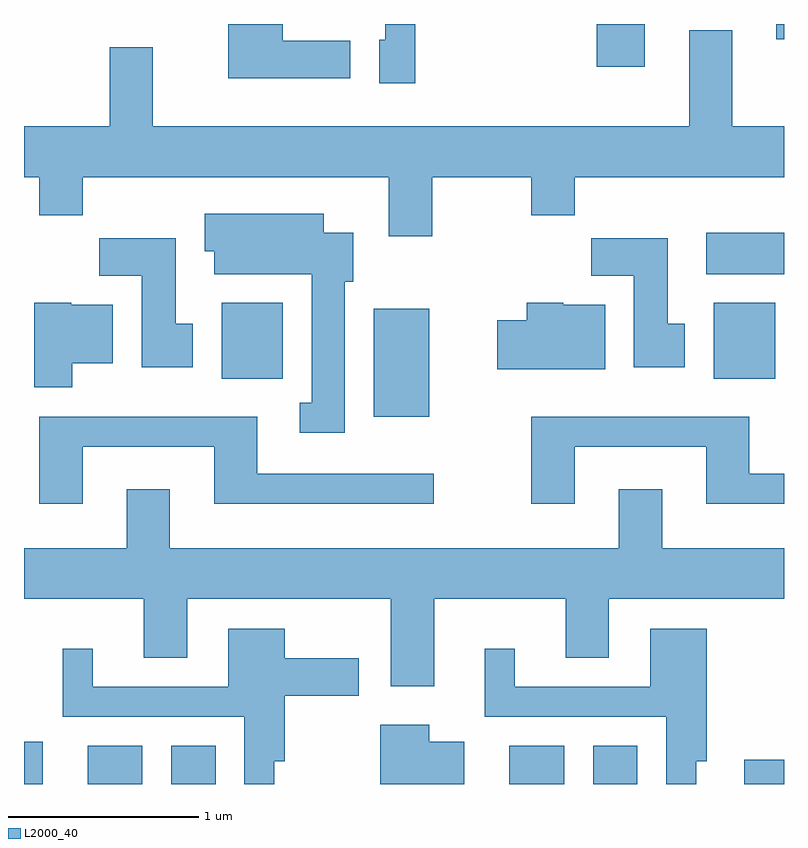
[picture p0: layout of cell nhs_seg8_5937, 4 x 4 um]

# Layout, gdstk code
import gdstk
lib = gdstk.Library(unit=1e-6, precision=1e-09)
def R(c, l, rs):  # rectangles x0, y0, x1, y1
    for r in rs: c.add(gdstk.rectangle(r[:2], r[2:], *l))
def P(c, l, *ps):  # polygons
    for p in ps: c.add(gdstk.Polygon(p, *l))
L2000_40 = (2000, 40)

nhs_seg8_5937 = lib.new_cell('nhs_seg8_5937')
R(nhs_seg8_5937, L2000_40, [(363.611,1824.342,363.709,1824.564), (363.946,1824.342,364.234,1824.544), (364.386,1824.342,364.619,1824.544), (366.166,1824.342,366.454,1824.544), (366.606,1824.342,366.839,1824.544), (367.401,1824.342,367.611,1824.469), (365.451,1826.276,365.744,1826.844), (364.651,1826.476,364.974,1826.874), (367.241,1826.476,367.564,1826.874), (367.201,1827.026,367.611,1827.244), (366.626,1828.116,366.879,1828.342), (367.571,1828.261,367.611,1828.342)])
P(nhs_seg8_5937, L2000_40, [(365.329,1828.254),(364.974,1828.254),(364.974,1828.342),(364.686,1828.342),(364.686,1828.056),(365.329,1828.056)],
  [(365.669,1828.342),(365.511,1828.342),(365.511,1828.259),(365.481,1828.259),(365.481,1828.031),(365.669,1828.031)],
  [(365.759,1827.536),(366.281,1827.536),(366.281,1827.336),(366.509,1827.336),(366.509,1827.536),(367.611,1827.536),(367.611,1827.804),(367.339,1827.804),(367.339,1828.309),(367.111,1828.309),(367.111,1827.804),(364.289,1827.804),(364.289,1828.219),(364.061,1828.219),(364.061,1827.804),(363.611,1827.804),(363.611,1827.536),(363.691,1827.536),(363.691,1827.336),(363.919,1827.336),(363.919,1827.536),(365.531,1827.536),(365.531,1827.226),(365.759,1827.226)],
  [(365.299,1826.986),(365.344,1826.986),(365.344,1827.244),(365.189,1827.244),(365.189,1827.344),(364.561,1827.344),(364.561,1827.146),(364.611,1827.146),(364.611,1827.026),(365.126,1827.026),(365.126,1826.349),(365.063,1826.349),(365.063,1826.191),(365.299,1826.191)],
  [(367.089,1826.764),(366.999,1826.764),(366.999,1827.214),(366.596,1827.214),(366.596,1827.016),(366.821,1827.016),(366.821,1826.536),(367.089,1826.536)],
  [(364.499,1826.764),(364.409,1826.764),(364.409,1827.214),(364.006,1827.214),(364.006,1827.016),(364.231,1827.016),(364.231,1826.536),(364.499,1826.536)],
  [(363.864,1826.556),(364.079,1826.556),(364.079,1826.864),(363.86,1826.864),(363.86,1826.874),(363.666,1826.874),(363.666,1826.431),(363.864,1826.431)],
  [(366.669,1826.864),(366.45,1826.864),(366.45,1826.874),(366.256,1826.874),(366.256,1826.784),(366.101,1826.784),(366.101,1826.526),(366.669,1826.526)],
  [(366.509,1826.116),(367.201,1826.116),(367.201,1825.816),(367.611,1825.816),(367.611,1825.974),(367.429,1825.974),(367.429,1826.274),(366.281,1826.274),(366.281,1825.816),(366.509,1825.816)],
  [(363.919,1826.116),(364.611,1826.116),(364.611,1825.816),(365.768,1825.816),(365.768,1825.974),(364.839,1825.974),(364.839,1826.274),(363.691,1826.274),(363.691,1825.816),(363.919,1825.816)],
  [(365.769,1825.316),(366.461,1825.316),(366.461,1825.006),(366.689,1825.006),(366.689,1825.316),(367.611,1825.316),(367.611,1825.584),(366.969,1825.584),(366.969,1825.894),(366.741,1825.894),(366.741,1825.584),(364.379,1825.584),(364.379,1825.894),(364.151,1825.894),(364.151,1825.584),(363.611,1825.584),(363.611,1825.316),(364.241,1825.316),(364.241,1825.006),(364.469,1825.006),(364.469,1825.316),(365.541,1825.316),(365.541,1824.856),(365.769,1824.856)],
  [(364.929,1824.461),(364.984,1824.461),(364.984,1824.806),(365.374,1824.806),(365.374,1825.004),(364.984,1825.004),(364.984,1825.159),(364.686,1825.159),(364.686,1824.854),(363.974,1824.854),(363.974,1825.053),(363.816,1825.053),(363.816,1824.696),(364.771,1824.696),(364.771,1824.342),(364.929,1824.342)],
  [(367.149,1824.461),(367.204,1824.461),(367.204,1825.159),(366.906,1825.159),(366.906,1824.854),(366.194,1824.854),(366.194,1825.053),(366.036,1825.053),(366.036,1824.696),(366.991,1824.696),(366.991,1824.342),(367.149,1824.342)],
  [(365.929,1824.564),(365.744,1824.564),(365.744,1824.654),(365.486,1824.654),(365.486,1824.342),(365.929,1824.342)])

lib.write_gds('nhs_seg8_5937.gds')
